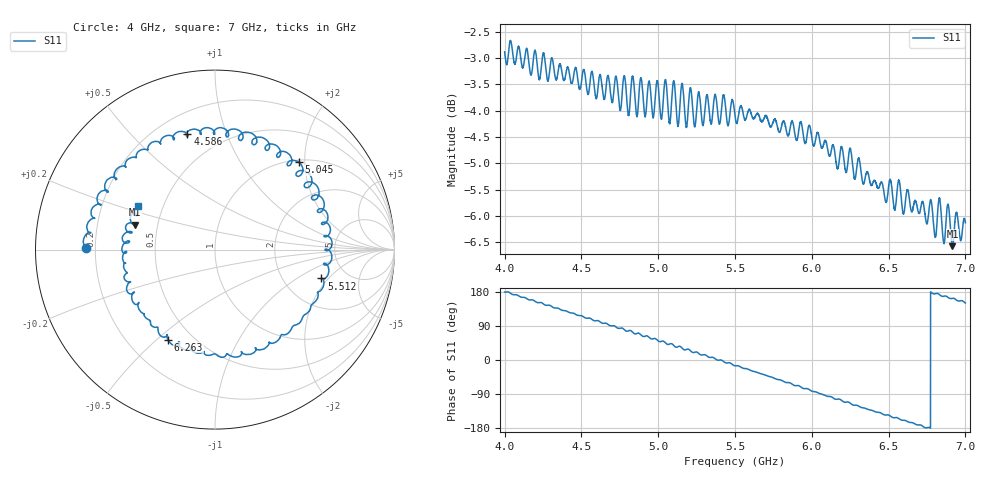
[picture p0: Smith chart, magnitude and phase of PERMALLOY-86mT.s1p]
#  HZ  S  RI  R  50.0
! Rohde & Schwarz ZVL13 2Ports - Version 3.31 - 1303.6509k13 SN: 101088
! Date: 2023-03-03 14:46:59
! Data & Calibration Information:
! Trc2:S21(TOSM)
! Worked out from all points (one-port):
!   4000 points, 4 GHz to 7 GHz, reference 50 ohm
!   lowest |S11| = -6.6 dB at 6.916 GHz (marker M1), VSWR 2.77, Z = 18.4 + j6.6 ohm
!   |S11| at or under -10 dB: nowhere
!   S11 on the Smith chart (normalised r, x): 4 GHz: 0.16, +0.01; 4.586 GHz: 0.32, +0.74; 5.045 GHz: 1.05, +1.87; 5.512 GHz: 3.25, -1.67; 6.263 GHz: 0.37, -0.54; 7 GHz: 0.36, +0.23
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4e9  -0.7173 0.00907
4.024006e9  -0.7134 0.00471
4.194299e9  -0.6565 0.2906
4.375094e9  -0.4489 0.5153
4.51838e9  -0.2649 0.6359
4.585896e9  -0.1534 0.6421
4.674419e9  -0.0423 0.6797
4.750188e9  0.0707 0.6291
4.777194e9  0.1081 0.6718
4.883721e9  0.2543 0.6263
5.045011e9  0.4671 0.487
5.125281e9  0.5061 0.3452
5.16129e9  0.5793 0.3204
5.186797e9  0.5373 0.2894
5.213803e9  0.6085 0.2556
5.31958e9  0.6433 0.1102
5.500375e9  0.6014 -0.1659
5.511628e9  0.5923 -0.1607
5.647412e9  0.5247 -0.3439
5.875469e9  0.262 -0.5563
6.03976e9  0.038 -0.5993
6.250563e9  -0.236 -0.5301
6.262566e9  -0.2625 -0.5009
6.462116e9  -0.4281 -0.3217
6.625656e9  -0.5067 -0.1558
6.830458e9  -0.5167 0.0666
6.915979e9  -0.4478 0.1395
7e9  -0.4288 0.2447
